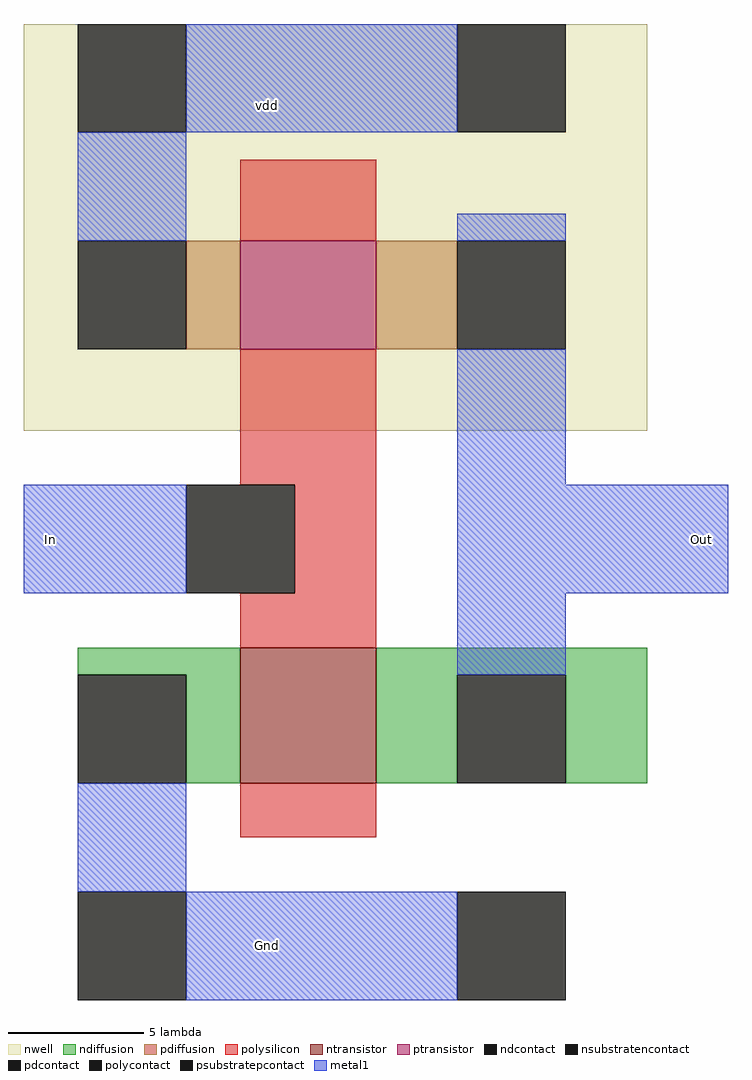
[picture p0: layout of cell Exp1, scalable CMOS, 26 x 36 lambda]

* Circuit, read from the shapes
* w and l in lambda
.subckt Exp1 Gnd In Out vdd
M1 Out In Gnd Gnd nfet w=5 l=5
M2 Out In vdd vdd pfet w=4 l=5
.ends

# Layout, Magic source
magic
tech scmos
<< nwell >>
rect -8 7 15 22
<< polysilicon >>
rect 0 14 5 17
rect 0 5 5 10
rect 2 1 5 5
rect 0 -1 5 1
rect 0 -8 5 -6
<< ndiffusion >>
rect -6 -2 0 -1
rect -2 -6 0 -2
rect 5 -2 15 -1
rect 5 -6 8 -2
rect 12 -6 15 -2
<< pdiffusion >>
rect -2 10 0 14
rect 5 10 8 14
<< metal1 >>
rect -2 18 8 22
rect -6 14 -2 18
rect 8 14 12 15
rect 8 5 12 10
rect -8 1 -2 5
rect 8 1 18 5
rect 8 -2 12 1
rect -6 -10 -2 -6
rect -2 -14 8 -10
<< ntransistor >>
rect 0 -6 5 -1
<< ptransistor >>
rect 0 10 5 14
<< polycontact >>
rect -2 1 2 5
<< ndcontact >>
rect -6 -6 -2 -2
rect 8 -6 12 -2
<< pdcontact >>
rect -6 10 -2 14
rect 8 10 12 14
<< psubstratepcontact >>
rect -6 -14 -2 -10
rect 8 -14 12 -10
<< nsubstratencontact >>
rect -6 18 -2 22
rect 8 18 12 22
<< labels >>
rlabel metal1 1 19 1 19 5 vdd
rlabel metal1 -7 3 -7 3 3 In
rlabel metal1 17 3 17 3 7 Out
rlabel metal1 1 -12 1 -12 1 Gnd
<< end >>
